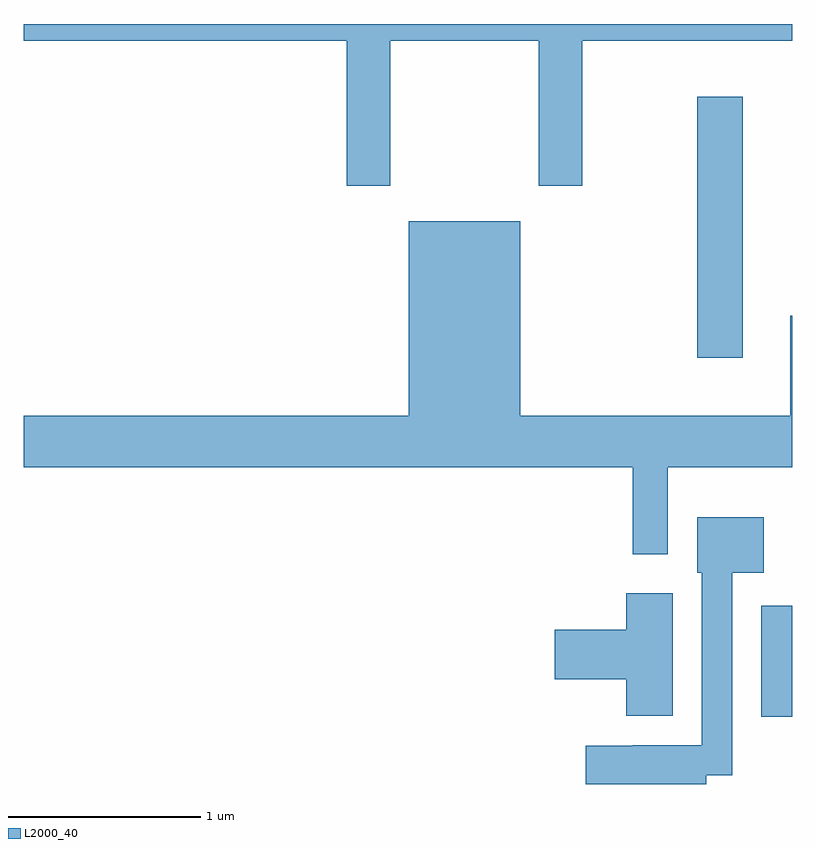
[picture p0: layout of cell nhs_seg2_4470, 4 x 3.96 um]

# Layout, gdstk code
import gdstk
lib = gdstk.Library(unit=1e-6, precision=1e-09)
def R(c, l, rs):  # rectangles x0, y0, x1, y1
    for r in rs: c.add(gdstk.rectangle(r[:2], r[2:], *l))
def P(c, l, *ps):  # polygons
    for p in ps: c.add(gdstk.Polygon(p, *l))
L2000_40 = (2000, 40)

nhs_seg2_4470 = lib.new_cell('nhs_seg2_4470')
R(nhs_seg2_4470, L2000_40, [(321.451,978.196,321.611,978.774), (321.116,980.066,321.354,981.424)])
P(nhs_seg2_4470, L2000_40, [(319.519,981.716),(320.291,981.716),(320.291,980.961),(320.519,980.961),(320.519,981.716),(321.611,981.716),(321.611,981.802),(317.611,981.802),(317.611,981.716),(319.291,981.716),(319.291,980.961),(319.519,980.961)],
  [(321.611,980.284),(321.601,980.284),(321.601,979.764),(320.194,979.764),(320.194,980.774),(319.616,980.774),(319.616,979.764),(317.611,979.764),(317.611,979.496),(320.781,979.496),(320.781,979.041),(320.964,979.041),(320.964,979.496),(321.611,979.496)],
  [(321.164,977.891),(321.299,977.891),(321.299,978.946),(321.464,978.946),(321.464,979.234),(321.116,979.234),(321.116,978.946),(321.141,978.946),(321.141,978.049),(320.78,978.049),(320.78,978.044),(320.536,978.044),(320.536,977.846),(321.164,977.846)],
  [(320.989,978.839),(320.746,978.839),(320.746,978.649),(320.376,978.649),(320.376,978.391),(320.746,978.391),(320.746,978.201),(320.989,978.201)])

lib.write_gds('nhs_seg2_4470.gds')
